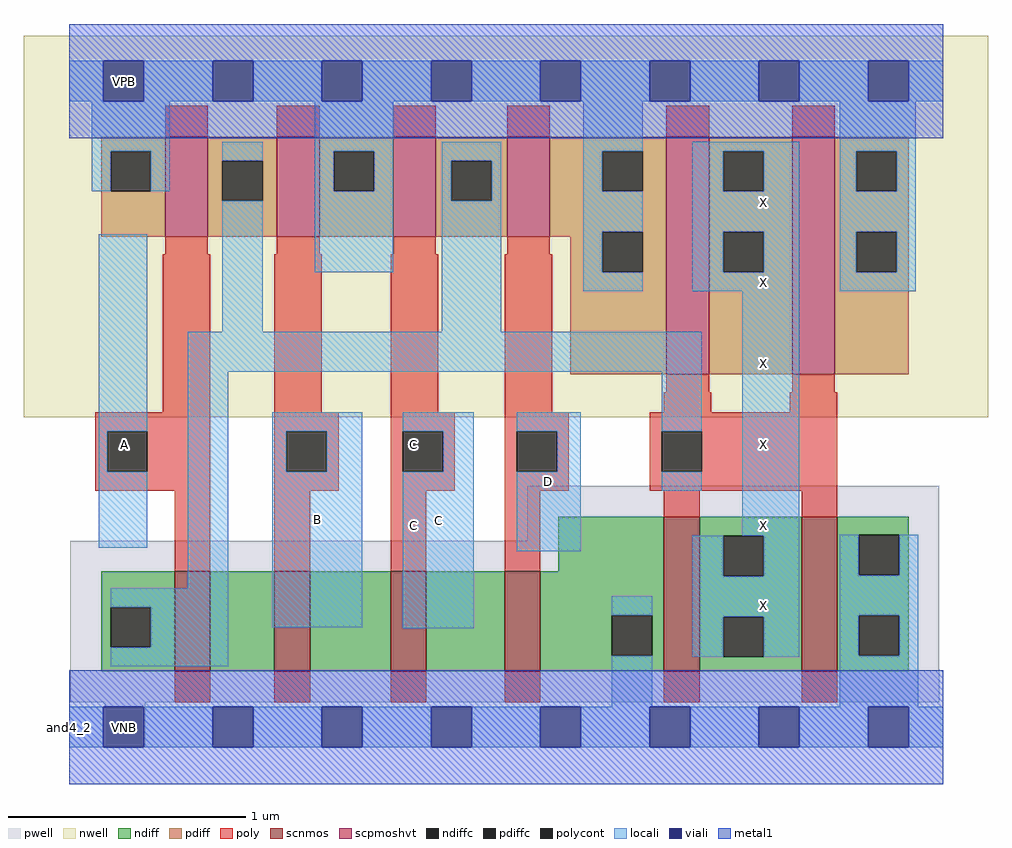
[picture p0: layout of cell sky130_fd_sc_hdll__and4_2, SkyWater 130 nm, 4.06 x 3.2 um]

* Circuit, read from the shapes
.subckt sky130_fd_sc_hdll__and4_2 A B C D VGND VNB VPB VPWR X
XM1 n1 A n2 VNB sky130_fd_pr__nfet_01v8 w=0.42 l=0.15
XM2 n3 B n1 VNB sky130_fd_pr__nfet_01v8 w=0.42 l=0.15
XM3 n4 C n3 VNB sky130_fd_pr__nfet_01v8 w=0.42 l=0.15
XM4 VGND D n4 VNB sky130_fd_pr__nfet_01v8 w=0.42 l=0.15
XM5 X n2 VGND VNB sky130_fd_pr__nfet_01v8 w=0.65 l=0.15 m=2
XM6 n2 A VPWR VPB sky130_fd_pr__pfet_01v8_hvt w=0.42 l=0.18
XM7 VPWR B n2 VPB sky130_fd_pr__pfet_01v8_hvt w=0.42 l=0.18
XM8 n2 C VPWR VPB sky130_fd_pr__pfet_01v8_hvt w=0.42 l=0.18
XM9 VPWR D n2 VPB sky130_fd_pr__pfet_01v8_hvt w=0.42 l=0.18
XM10 X n2 VPWR VPB sky130_fd_pr__pfet_01v8_hvt w=1 l=0.18 m=2
.ends

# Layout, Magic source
magic
tech sky130A
magscale 1 2
<< nwell >>
rect -38 261 774 582
<< pwell >>
rect 386 157 733 203
rect 1 21 733 157
rect 30 -17 64 21
<< scnmos >>
rect 89 47 119 131
rect 173 47 203 131
rect 271 47 301 131
rect 367 47 397 131
rect 501 47 531 177
rect 617 47 647 177
<< scpmoshvt >>
rect 81 413 117 497
rect 175 413 211 497
rect 273 413 309 497
rect 369 413 405 497
rect 503 297 539 497
rect 609 297 645 497
<< ndiff >>
rect 412 131 501 177
rect 27 101 89 131
rect 27 67 35 101
rect 69 67 89 101
rect 27 47 89 67
rect 119 47 173 131
rect 203 47 271 131
rect 301 47 367 131
rect 397 94 501 131
rect 397 60 457 94
rect 491 60 501 94
rect 397 47 501 60
rect 531 161 617 177
rect 531 127 551 161
rect 585 127 617 161
rect 531 93 617 127
rect 531 59 551 93
rect 585 59 617 93
rect 531 47 617 59
rect 647 162 707 177
rect 647 128 665 162
rect 699 128 707 162
rect 647 94 707 128
rect 647 60 665 94
rect 699 60 707 94
rect 647 47 707 60
<< pdiff >>
rect 27 485 81 497
rect 27 451 35 485
rect 69 451 81 485
rect 27 413 81 451
rect 117 477 175 497
rect 117 443 129 477
rect 163 443 175 477
rect 117 413 175 443
rect 211 485 273 497
rect 211 451 223 485
rect 257 451 273 485
rect 211 413 273 451
rect 309 477 369 497
rect 309 443 322 477
rect 356 443 369 477
rect 309 413 369 443
rect 405 485 503 497
rect 405 451 449 485
rect 483 451 503 485
rect 405 417 503 451
rect 405 413 449 417
rect 422 383 449 413
rect 483 383 503 417
rect 422 297 503 383
rect 539 485 609 497
rect 539 451 551 485
rect 585 451 609 485
rect 539 417 609 451
rect 539 383 551 417
rect 585 383 609 417
rect 539 297 609 383
rect 645 485 707 497
rect 645 451 663 485
rect 697 451 707 485
rect 645 417 707 451
rect 645 383 663 417
rect 697 383 707 417
rect 645 297 707 383
<< ndiffc >>
rect 35 67 69 101
rect 457 60 491 94
rect 551 127 585 161
rect 551 59 585 93
rect 665 128 699 162
rect 665 60 699 94
<< pdiffc >>
rect 35 451 69 485
rect 129 443 163 477
rect 223 451 257 485
rect 322 443 356 477
rect 449 451 483 485
rect 449 383 483 417
rect 551 451 585 485
rect 551 383 585 417
rect 663 451 697 485
rect 663 383 697 417
<< poly >>
rect 81 497 117 523
rect 175 497 211 523
rect 273 497 309 523
rect 369 497 405 523
rect 503 497 539 523
rect 609 497 645 523
rect 81 398 117 413
rect 175 398 211 413
rect 273 398 309 413
rect 369 398 405 413
rect 79 265 119 398
rect 22 249 119 265
rect 22 215 32 249
rect 66 215 119 249
rect 22 199 119 215
rect 89 131 119 199
rect 173 265 213 398
rect 271 265 311 398
rect 367 265 407 398
rect 503 282 539 297
rect 609 282 645 297
rect 501 265 541 282
rect 607 265 647 282
rect 173 249 227 265
rect 173 215 183 249
rect 217 215 227 249
rect 173 199 227 215
rect 271 249 325 265
rect 271 215 281 249
rect 315 215 325 249
rect 271 199 325 215
rect 367 249 421 265
rect 367 215 377 249
rect 411 215 421 249
rect 367 199 421 215
rect 489 249 647 265
rect 489 215 499 249
rect 533 215 647 249
rect 489 199 647 215
rect 173 131 203 199
rect 271 131 301 199
rect 367 131 397 199
rect 501 177 531 199
rect 617 177 647 199
rect 89 21 119 47
rect 173 21 203 47
rect 271 21 301 47
rect 367 21 397 47
rect 501 21 531 47
rect 617 21 647 47
<< polycont >>
rect 32 215 66 249
rect 183 215 217 249
rect 281 215 315 249
rect 377 215 411 249
rect 499 215 533 249
<< locali >>
rect 0 527 29 561
rect 63 527 121 561
rect 155 527 213 561
rect 247 527 305 561
rect 339 527 397 561
rect 431 527 489 561
rect 523 527 581 561
rect 615 527 673 561
rect 707 527 736 561
rect 19 485 85 527
rect 19 451 35 485
rect 69 451 85 485
rect 129 477 163 493
rect 25 249 66 415
rect 129 333 163 443
rect 207 485 273 527
rect 207 451 223 485
rect 257 451 273 485
rect 207 383 273 451
rect 314 477 364 493
rect 314 443 322 477
rect 356 443 364 477
rect 314 333 364 443
rect 433 485 483 527
rect 433 451 449 485
rect 433 417 483 451
rect 433 383 449 417
rect 433 367 483 383
rect 525 485 615 493
rect 525 451 551 485
rect 585 451 615 485
rect 525 417 615 451
rect 525 383 551 417
rect 585 383 615 417
rect 525 367 615 383
rect 649 485 713 527
rect 649 451 663 485
rect 697 451 713 485
rect 649 417 713 451
rect 649 383 663 417
rect 697 383 713 417
rect 649 367 713 383
rect 25 215 32 249
rect 25 151 66 215
rect 100 299 533 333
rect 100 117 134 299
rect 35 101 134 117
rect 69 67 134 101
rect 171 249 247 265
rect 171 215 183 249
rect 217 215 247 249
rect 171 84 247 215
rect 281 249 341 265
rect 315 215 341 249
rect 281 83 341 215
rect 377 249 431 265
rect 411 215 431 249
rect 377 148 431 215
rect 499 249 533 299
rect 499 199 533 215
rect 567 161 615 367
rect 525 127 551 161
rect 585 127 615 161
rect 457 94 491 110
rect 35 51 134 67
rect 457 17 491 60
rect 525 93 615 127
rect 525 59 551 93
rect 585 59 615 93
rect 649 128 665 162
rect 699 128 715 162
rect 649 94 715 128
rect 649 60 665 94
rect 699 60 715 94
rect 649 17 715 60
rect 0 -17 29 17
rect 63 -17 121 17
rect 155 -17 213 17
rect 247 -17 305 17
rect 339 -17 397 17
rect 431 -17 489 17
rect 523 -17 581 17
rect 615 -17 673 17
rect 707 -17 736 17
<< viali >>
rect 29 527 63 561
rect 121 527 155 561
rect 213 527 247 561
rect 305 527 339 561
rect 397 527 431 561
rect 489 527 523 561
rect 581 527 615 561
rect 673 527 707 561
rect 29 -17 63 17
rect 121 -17 155 17
rect 213 -17 247 17
rect 305 -17 339 17
rect 397 -17 431 17
rect 489 -17 523 17
rect 581 -17 615 17
rect 673 -17 707 17
<< metal1 >>
rect 0 561 736 592
rect 0 527 29 561
rect 63 527 121 561
rect 155 527 213 561
rect 247 527 305 561
rect 339 527 397 561
rect 431 527 489 561
rect 523 527 581 561
rect 615 527 673 561
rect 707 527 736 561
rect 0 496 736 527
rect 0 17 736 48
rect 0 -17 29 17
rect 63 -17 121 17
rect 155 -17 213 17
rect 247 -17 305 17
rect 339 -17 397 17
rect 431 -17 489 17
rect 523 -17 581 17
rect 615 -17 673 17
rect 707 -17 736 17
rect 0 -48 736 -17
<< labels >>
flabel locali s 568 425 602 459 0 FreeSans 200 0 0 0 X
port 9 nsew signal output
flabel locali s 281 83 341 265 0 FreeSans 200 0 0 0 C
port 3 nsew signal input
flabel locali s 290 170 290 170 0 FreeSans 200 0 0 0 C
port 3 nsew
flabel locali s 30 221 64 255 0 FreeSans 200 0 0 0 A
port 1 nsew signal input
flabel locali s 290 238 290 238 0 FreeSans 200 0 0 0 C
port 3 nsew
flabel locali s 171 84 247 265 0 FreeSans 200 0 0 0 B
port 2 nsew signal input
flabel locali s 209 170 209 170 0 FreeSans 200 0 0 0 B
port 2 nsew
flabel locali s 377 148 431 265 0 FreeSans 200 0 0 0 D
port 4 nsew signal input
flabel locali s 568 85 602 119 0 FreeSans 200 0 0 0 X
port 9 nsew signal output
flabel locali s 568 153 602 187 0 FreeSans 200 0 0 0 X
port 9 nsew signal output
flabel locali s 568 221 602 255 0 FreeSans 200 0 0 0 X
port 9 nsew signal output
flabel locali s 568 289 602 323 0 FreeSans 200 0 0 0 X
port 9 nsew signal output
flabel locali s 568 357 602 391 0 FreeSans 200 0 0 0 X
port 9 nsew signal output
flabel pwell s 30 -17 64 17 0 FreeSans 200 0 0 0 VNB
port 6 nsew ground bidirectional
flabel nwell s 30 527 64 561 0 FreeSans 200 0 0 0 VPB
port 7 nsew power bidirectional
flabel metal1 s 30 -17 64 17 0 FreeSans 200 0 0 0 VGND
port 5 nsew ground bidirectional
flabel metal1 s 30 527 64 561 0 FreeSans 200 0 0 0 VPWR
port 8 nsew power bidirectional
rlabel comment s 0 0 0 0 4 and4_2
<< properties >>
string LEFsite unithd
string LEFclass CORE
string FIXED_BBOX 0 0 736 544
string GDS_FILE $PDKPATH/libs.ref/sky130_fd_sc_hdll/gds/sky130_fd_sc_hdll.gds
string LEFsymmetry X Y R90
string GDS_END 1839508
string GDS_START 1832338
string LEFproperties maskLayoutSubType "abstract" prCellType "standard" originalViewName "layout"
<< end >>
